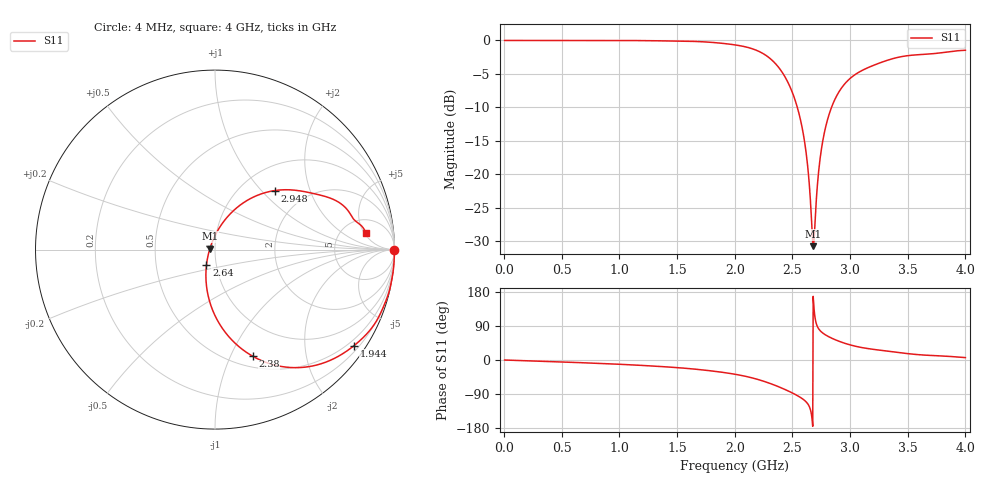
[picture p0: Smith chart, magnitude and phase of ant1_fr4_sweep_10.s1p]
! TOUCHSTONE file generated by CST MICROWAVE STUDIO
! Date and time: Fri May  6 15:38:56 2022
! Project name: ant1_ceramic_sweep_fr4.cst
! Parameters = {e=0.035; h=1.6; i=0.8; l1=0.5; l2=18.864; ls=80; wl=1.7; ws=30}
! Header version: 2018
! Port assignment regex: !\s*Touchstone port\s*([0-9]+)\s*=\s*(CST MWS port|CST DS port)\s*([0-9]+|Zmin|Zmax)\s*\(\"(.*)\"\)(\s*mode\s*([0-9]+))?.*
! Touchstone port assignment:
! Touchstone port 1 = CST MWS port 1 ("")
# GHz S DB R 50
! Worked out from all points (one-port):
!   1000 points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, 4 MHz to 4 GHz, reference 50 ohm
!   lowest |S11| = -30.8 dB at 2.68 GHz (marker M1), VSWR 1.06, Z = 47.2 + j0.577 ohm
!   |S11| at or under -10 dB: 2.542 GHz to 2.839 GHz (296.8 MHz wide, 11 % of centre)
!   S11 on the Smith chart (normalised r, x): 4 MHz: open; 1.944 GHz: 0.34, -3.16; 2.38 GHz: 0.62, -1.22; 2.64 GHz: 0.90, -0.15; 2.948 GHz: 1.41, +1.19; 4 GHz: 8.35, +5.38
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0.004  -0.00 -0.0
0.504  -0.00 -5.2
1.004  -0.01 -11.3
1.504  -0.09 -20.2
1.736  -0.21 -26.7
1.944  -0.53 -34.7
2.004  -0.67 -37.7
2.124  -1.09 -45.2
2.232  -1.83 -54.2
2.38  -4.02 -70.6
2.504  -7.98 -87.7
2.552  -10.60 -95.6
2.588  -13.38 -102.6
2.616  -16.42 -109.6
2.64  -20.21 -119.1
2.668  -27.68 -150.0
2.68  -30.76 167.8
2.688  -29.72 133.7
2.696  -27.16 111.7
2.72  -20.91 86.1
2.736  -18.22 78.9
2.78  -13.55 67.6
2.852  -9.44 56.0
2.948  -6.61 44.7
3.004  -5.62 39.6
3.212  -3.66 27.7
3.504  -2.26 16.7
4  -1.47 6.3
